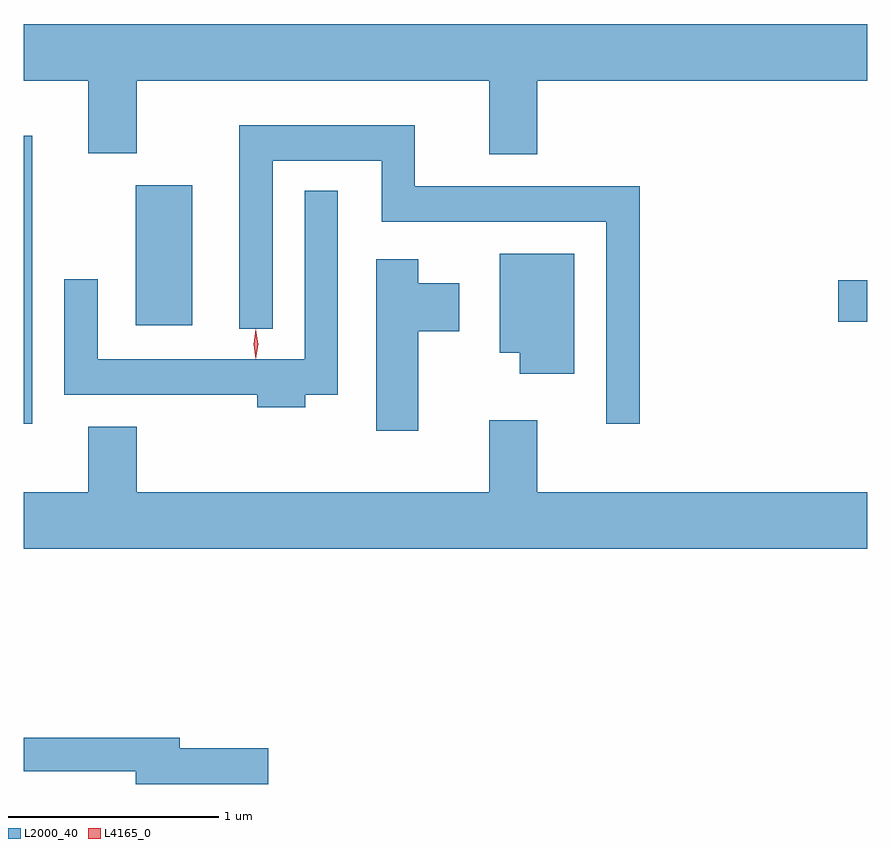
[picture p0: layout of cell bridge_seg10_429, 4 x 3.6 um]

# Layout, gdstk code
import gdstk
lib = gdstk.Library(unit=1e-6, precision=1e-09)
def R(c, l, rs):  # rectangles x0, y0, x1, y1
    for r in rs: c.add(gdstk.rectangle(r[:2], r[2:], *l))
def P(c, l, *ps):  # polygons
    for p in ps: c.add(gdstk.Polygon(p, *l))
L2000_40 = (2000, 40)
L4165_0 = (4165, 0)

bridge_seg10_429 = lib.new_cell('bridge_seg10_429')
R(bridge_seg10_429, L2000_40, [(1420.194,2138.928,1420.234,2140.294), (1420.726,2139.396,1420.994,2140.059), (1424.056,2139.411,1424.194,2139.609)])
P(bridge_seg10_429, L2000_40, [(1422.629,2140.556),(1424.194,2140.556),(1424.194,2140.824),(1420.194,2140.824),(1420.194,2140.556),(1420.501,2140.556),(1420.501,2140.211),(1420.729,2140.211),(1420.729,2140.556),(1422.401,2140.556),(1422.401,2140.206),(1422.629,2140.206)],
  [(1423.114,2140.054),(1422.049,2140.054),(1422.049,2140.344),(1421.216,2140.344),(1421.216,2139.378),(1421.374,2139.378),(1421.374,2140.176),(1421.891,2140.176),(1421.891,2139.886),(1422.956,2139.886),(1422.956,2138.928),(1423.114,2138.928)],
  [(1421.529,2139.066),(1421.684,2139.066),(1421.684,2140.033),(1421.526,2140.033),(1421.526,2139.234),(1420.544,2139.234),(1420.544,2139.613),(1420.386,2139.613),(1420.386,2139.066),(1421.301,2139.066),(1421.301,2139.006),(1421.529,2139.006)],
  [(1422.804,2139.734),(1422.451,2139.734),(1422.451,2139.266),(1422.546,2139.266),(1422.546,2139.166),(1422.804,2139.166)],
  [(1422.064,2139.366),(1422.259,2139.366),(1422.259,2139.594),(1422.064,2139.594),(1422.064,2139.709),(1421.866,2139.709),(1421.866,2138.896),(1422.064,2138.896)],
  [(1424.194,2138.604),(1422.629,2138.604),(1422.629,2138.944),(1422.401,2138.944),(1422.401,2138.604),(1420.729,2138.604),(1420.729,2138.914),(1420.501,2138.914),(1420.501,2138.604),(1420.194,2138.604),(1420.194,2138.336),(1424.194,2138.336)],
  [(1421.354,2137.389),(1420.934,2137.389),(1420.934,2137.439),(1420.194,2137.439),(1420.194,2137.281),(1420.726,2137.281),(1420.726,2137.22),(1421.354,2137.22)])
P(bridge_seg10_429, L4165_0, [(1421.294,2139.237),(1421.285,2139.306),(1421.294,2139.376),(1421.295,2139.376),(1421.295,2139.376),(1421.305,2139.306),(1421.295,2139.237),(1421.295,2139.237)],
  [(1421.294,2139.239),(1421.294,2139.24),(1421.284,2139.306),(1421.294,2139.372),(1421.294,2139.373),(1421.295,2139.372),(1421.304,2139.306),(1421.295,2139.24)])

lib.write_gds('bridge_seg10_429.gds')
